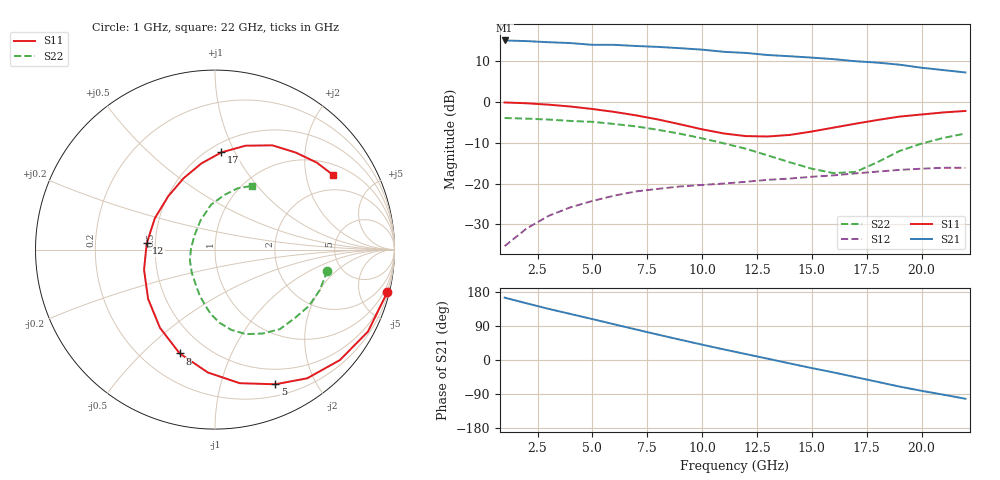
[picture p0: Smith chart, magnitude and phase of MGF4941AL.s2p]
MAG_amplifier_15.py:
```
import numpy as np
import scipy
import skrf as rf
import matplotlib.pyplot as plt
from ABCD_Shunt_OC_Stub import ABCD_Shunt_OC_Stub
from ABCD_Shunt_SC_Stub import ABCD_Shunt_SC_Stub
from ABCD_to_S import ABCD_to_S
from ABCD_TRL import ABCD_TRL
from S_Param_Interp import S_Param_Interp
from S_to_ABCD import S_to_ABCD

#--------Srinivas Nittala--------
# *Maximum Gain Amplifier using MGF4941AL HEMT @ 15GHz*

G = 10**9
Meg = 10**6
k = 10**3
c = 10**-2
C = 3e8      #Speed of Light
m = 10**-3
u = 10**-6
n = 10**-9
p = 10**-12
IFigure = 0
NF = 32
#---------------------------------
Z0 = 50
ZT = 50
f_min = 14*G
f0 = 15*G
f_max = 16*G
df = 5*Meg;
theta_p = 90
#---------------------------------
network = rf.Network("MGF4941AL.s2p")

freq = network.f
S = network.s

#---------------------------------

mag_S11 = 0.435
ang_S11 = 113.6

mag_S12 = 0.121
ang_S12 = -14.6

mag_S21 = 3.514
ang_S21 = -21.3

mag_S22 = 0.152
ang_S22 = -157.0

#"The 6GHz S-parameters were extracted from the official ATF-33143 low noise PHEMT data sheet."
S11 = (mag_S11*np.cos(np.deg2rad(ang_S11)))+1j*(mag_S11*np.sin(np.deg2rad(ang_S11)))
S12 = (mag_S12*np.cos(np.deg2rad(ang_S12)))+1j*(mag_S12*np.sin(np.deg2rad(ang_S12)))
S21 = (mag_S21*np.cos(np.deg2rad(ang_S21)))+1j*(mag_S21*np.sin(np.deg2rad(ang_S21)))
S22 = (mag_S22*np.cos(np.deg2rad(ang_S22)))+1j*(mag_S22*np.sin(np.deg2rad(ang_S22)))

#---Stability Analysis---
dl = (S11*S22) - (S12*S21)
mag_dl = np.abs(dl)
ang_dl = np.angle(dl, deg=True)
K = (1-(mag_S11)**2-(mag_S22)**2+(mag_dl)**2)/(2*(mag_S12*mag_S21))

#---Key Calculations---
B1 = 1+(mag_S11)**2-(mag_S22)**2-(mag_dl)**2
C1 = S11 - (dl)*np.conj(S22)
mag_C1 = np.abs(C1)
ang_C1 = np.angle(C1, deg = True)
B2 = 1+(mag_S22)**2-(mag_S11)**2-(mag_dl)**2
C2 = S22 - (dl)*np.conj(S11)
mag_C2 = np.abs(C2)
ang_C2 = np.angle(C2, deg = True)
#---Reflection Coeffcients---
#---Source Reflection Coeffcient---
Gamma_S1 = (B1 + (np.sqrt((B1)**2-(4*(mag_C1)**2))))/(2*C1)
mag_Gamma_S1 = np.abs(Gamma_S1)
ang_Gamma_S1 = np.angle(Gamma_S1, deg = True)

Gamma_S2 = (B1 - (np.sqrt((B1)**2-(4*(mag_C1)**2))))/(2*C1)
mag_Gamma_S2 = np.abs(Gamma_S2)
ang_Gamma_S2 = np.angle(Gamma_S2, deg = True)
if abs(Gamma_S1) < 1:
    Gamma_S = Gamma_S1
else:
    Gamma_S = Gamma_S2
#---Load Reflection Coeffcient---
Gamma_L1 = (B2 + (np.sqrt((B2)**2-(4*(mag_C2)**2))))/(2*C2)
mag_Gamma_L1 = np.abs(Gamma_L1)
ang_Gamma_L1 = np.angle(Gamma_L1, deg = True)

Gamma_L2 = (B2 - (np.sqrt((B2)**2-(4*(mag_C2)**2))))/(2*C2)
mag_Gamma_L2 = np.abs(Gamma_L2)
ang_Gamma_L2 = np.angle(Gamma_L2, deg = True)
if abs(Gamma_L1) < 1:
    Gamma_L = Gamma_L1
else:
    Gamma_L = Gamma_L2
#---Input Reflection Coeffcient---
Gamma_IN = (S11)+((S12*S21*Gamma_L)/(1-S22*Gamma_L))
mag_Gamma_IN = np.abs(Gamma_IN)
ang_Gamma_IN = np.angle(Gamma_IN, deg = True)
#---Output Reflection Coeffcient---
Gamma_OUT = (S22)+((S12*S21*Gamma_S)/(1-S11*Gamma_S))
mag_Gamma_OUT = np.abs(Gamma_OUT)
ang_Gamma_OUT = np.angle(Gamma_OUT, deg = True)
#---Gain Calculation---
MAG = ((mag_S21/mag_S12)*(K-(np.sqrt(K**2-1))))
MAG_dB = 10*np.log10(MAG)
X = ((1-(mag_Gamma_S2)**2)*((mag_S21)**2)*(1-(mag_Gamma_L2)**2))
A = 1 - S11*Gamma_S
B = 1 - S22*Gamma_L
C = S21*S12*Gamma_S*Gamma_L
Y = (A*B - C)**2
Z = np.abs(Y)
Gt = X/Z
Gt_dB = 10*np.log10(Gt)
#---Matching Networks---
#---IMN---
Gamma_IMN = np.abs(Gamma_IN-np.conj(Gamma_S))/np.abs(1-(Gamma_IN)*(Gamma_S))
VSWR_IMN = (1+Gamma_IMN)/(1-Gamma_IMN)
ML_IMN  = 1-(np.abs(Gamma_IMN))**2
ML_IMN_dB = 10*np.log10(ML_IMN)
#---OMN---
Gamma_OMN = np.abs(Gamma_OUT-np.conj(Gamma_L))/np.abs(1-(Gamma_OUT)*(Gamma_L))
VSWR_OMN = (1+Gamma_OMN)/(1-Gamma_OMN)
ML_OMN  = 1-(np.abs(Gamma_OMN))**2
ML_OMN_dB = 10*np.log10(ML_OMN)
#---IMN DESIGN---
dI2_lambda = 0.3464
theta_I2 = 360*dI2_lambda
theta_I2_2 = theta_I2*2
dI1_lambda = 0.0741
theta_I1 = 360*dI1_lambda
theta_I1_2 = theta_I1*2
#---OMN DESIGN---
dO2_lambda = 0.1138
theta_O2 = 360*dO2_lambda
theta_O2_2 = theta_O2*2
dO1_lambda = 0.1545
theta_O1 = 360* dO1_lambda
theta_O1_2 = theta_O1*2
#---NETWORK CASCADING---
#---IMN---TRANSISTOR---OMN---
freq_Amp = np.arange(f_min, f_max + df, df) #creates the frequency array.
I_f0_Amp = np.isin(freq_Amp, f0) #checks where f0 exists in the frequency array.
N_Freq = len(freq_Amp) #gives the number of frequency points
S_Amp = np.zeros((N_Freq, 2, 2), dtype=complex) #creates the empty 2×2 S-parameter matrix for every frequency
for kk in range(N_Freq):
 fk = freq_Amp[kk]
 theta_P_fk = (fk/f0)*theta_p
 theta_I1_fk = (fk/f0)*theta_I1
 theta_I2_fk = (fk/f0)*theta_I2
 theta_O1_fx = (fk/f0)*theta_O1
 theta_O2_fx = (fk/f0)*theta_O2
 T0 =  ABCD_TRL(Z0, theta_P_fk)
 TI1 = ABCD_Shunt_SC_Stub(Z0, theta_I1_fk)
 TI2 = ABCD_TRL(Z0, theta_I2_fk)
 TO2 = ABCD_TRL(Z0, theta_O2_fx)
 TO1 = ABCD_Shunt_OC_Stub(Z0, theta_O1_fx)
 Sx = S_Param_Interp(S, freq, fk)
 Ts = S_to_ABCD(Sx, Z0)
 T = T0 @ T0 @ TI1 @ TI2 @ Ts @ TO2 @ TO1 @ T0 @ T0
 S_Amp[kk, :, :] = ABCD_to_S(T, [Z0, Z0])
#-----Parameters Extraction-----------------
S11_Amp = S_Amp[:, 0, 0]
S11_Amp_Mag = np.abs(S11_Amp)
S11_Amp_dB = 20 * np.log10(S11_Amp_Mag)

S21_Amp = S_Amp[:, 1, 0]
S21_Amp_Mag = np.abs(S21_Amp)
S21_Amp_dB = 20 * np.log10(S21_Amp_Mag)

S22_Amp = S_Amp[:, 1, 1]
S22_Amp_Mag = np.abs(S22_Amp)
S22_Amp_dB = 20 * np.log10(S22_Amp_Mag)

S12_Amp = S_Amp[:, 0, 1]
S12_Amp_Mag = np.abs(S12_Amp)
S12_Amp_dB = 20 * np.log10(S12_Amp_Mag)
#------ S-parameters at f0------
S_Amp_f0 = S_Amp[I_f0_Amp, :, :]

S11_Amp_f0 = S11_Amp[I_f0_Amp]
S11_Amp_f0_dB = S11_Amp_dB[I_f0_Amp]

S21_Amp_f0 = S21_Amp[I_f0_Amp]
S21_Amp_f0_dB = S21_Amp_dB[I_f0_Amp]

S22_Amp_f0 = S22_Amp[I_f0_Amp]
S22_Amp_f0_dB = S22_Amp_dB[I_f0_Amp]

S12_Amp_f0 = S12_Amp[I_f0_Amp]
S12_Amp_f0_dB = S12_Amp_dB[I_f0_Amp]

S21_Amp_f0_Mag = abs(S21_Amp_f0)
#---------------------------------
#		|
#		|
#		|			
# Amplifier values for S11,S12,S21,S22nad Gt @ 15GHZ
#		|
#		|
#		|
	# In progress
#-------------Graphs---------------
plt.figure()

plt.plot(freq_Amp / G, S21_Amp_dB, linewidth=6)

plt.scatter(f0 / G, MAG_dB, s=100)
plt.annotate(f"{MAG_dB:.4f} dB", (f0 / G, MAG_dB))

plt.xlabel("Frequency (GHz)")
plt.ylabel("S21 (dB)")
plt.title("S21 Maximum gain Amplifier @ 15GHz")

plt.xlim(14, 16)
plt.ylim(9.5, 13.5)

plt.grid(True)
plt.show()
#------------------
plt.figure()

plt.plot(freq_Amp / G, S11_Amp_dB, 'g',  linewidth = 6)

plt.xlabel("Frequency (GHz)")
plt.ylabel("S11 (dB)")
plt.title("S11 Maximum gain Amplifier @15GHz")

plt.xlim(14, 16)
plt.ylim(-40, 0)

plt.grid(True)
plt.show()
#------------------
plt.figure()

plt.plot(freq_Amp / G, S22_Amp_dB, 'r',  linewidth = 6)

plt.xlabel("Frequency (GHz)")
plt.ylabel("S22 (dB)")
plt.title("S22 Maximum gain Amplifier @15GHz")

plt.xlim(14, 16)
plt.ylim(-40, 0)

plt.grid(True)
plt.show()
#------------------
plt.figure()

plt.plot(freq_Amp / G, S11_Amp_dB, 'r',  linewidth = 6)
plt.plot(freq_Amp / G, S21_Amp_dB, 'b',  linewidth = 6)
plt.plot(freq_Amp / G, S22_Amp_dB, 'g',  linewidth = 6)
plt.plot(freq_Amp / G, S12_Amp_dB, 'c',  linewidth = 6)

plt.xlabel("Frequency (GHz)")
plt.ylabel("Sji (dB)")
plt.title("Sji Maximum gain Amplifier @15GHz")

plt.xlim(14, 16)
plt.ylim(-40, 15)

plt.grid(True)
plt.show()

print("Device: MGF4941AL HEMT")
print("Center Frequency: 15GHz")
print("-----Part-1-----")
print(f"S11= {S11:.4f}")
print(f"S12= {S12:.4f}")
print(f"S21= {S21:.4f}")
print(f"S22= {S22:.4f}")
#---Stability Analysis---
print("-----Part-2-----")
print(f"dl= {dl:.4f}")
print(f"mag_dl= {mag_dl:.4f}")
print(f"ang_dl= {ang_dl:.4f}")
print(f"K= {K:.4f}")
if mag_dl<1 and K>1:
 print("Stability:Unconditionally Stable")
else:
 print("Stability:Conditionally Stable")
#---Key Calculations---
print("-----Part-3-----")
print(f"B1= {B1:.4f}")
print(f"C1= {C1:.4f}")
print(f"mag_C1= {mag_C1:.4f}")
print(f"ang_C1= {ang_C1:.4f}")
print(f"B2= {B2:.4f}")
print(f"C2= {C2:.4f}")
print(f"mag_C2= {mag_C2:.4f}")
print(f"ang_C2= {ang_C2:.4f}")
#---Reflection Coeffcients---
print("-----Part-4-----")
print("-----Reflection Coeffcients-----")
print("-----Source Reflection Coeffcient-----")
print(f"Gamma_S1= {Gamma_S1:.4f}")
print(f"mag_Gamma_S1= {mag_Gamma_S1:.4f}")
print(f"ang_Gamma_S1= {ang_Gamma_S1:.4f}")
print("-----------------")
print(f"Gamma_S2= {Gamma_S2:.4f}")
print(f"mag_Gamma_S2= {mag_Gamma_S2:.4f}")
print(f"ang_Gamma_S2= {ang_Gamma_S2:.4f}")
print(f"Gamma_S = {np.abs(Gamma_S):.4f} ∠ {np.angle(Gamma_S, deg = True):.4f}°")

print("-----Load Reflection Coeffcient-----")
print(f"Gamma_L1= {Gamma_L1:.4f}")
print(f"mag_Gamma_L1= {mag_Gamma_L1:.4f}")
print(f"ang_Gamma_L1= {ang_Gamma_L1:.4f}")
print("-----------------")
print(f"Gamma_L2= {Gamma_L2:.4f}")
print(f"mag_Gamma_L2= {mag_Gamma_L2:.4f}")
print(f"ang_Gamma_L2= {ang_Gamma_L2:.4f}")
print(f"Gamma_L = {np.abs(Gamma_L):.4f} ∠ {np.angle(Gamma_L, deg = True):.4f}°")
print("-----Input Reflection Coeffcient-----")
print(f"Gamma_IN= {Gamma_IN:.4f}")
print(f"mag_Gamma_IN= {mag_Gamma_IN:.4f}")
print(f"ang_Gamma_IN= {ang_Gamma_IN:.4f}")
print(f"Gamma_IN_Polar = {np.abs(Gamma_IN):.4f} ∠ {np.angle(Gamma_IN, deg = True):.4f}°")
print("-----Output Reflection Coeffcient-----")
print(f"Gamma_OUT= {Gamma_OUT:.4f}")
print(f"mag_Gamma_OUT= {mag_Gamma_OUT:.4f}")
print(f"ang_Gamma_OUT= {ang_Gamma_OUT:.4f}")
print(f"Gamma_OUT_Polar = {np.abs(Gamma_OUT):.4f} ∠ {np.angle(Gamma_OUT, deg = True):.4f}°")
if np.isclose(Gamma_IN, np.conj(Gamma_S)) and np.isclose(Gamma_OUT, np.conj(Gamma_L)):
    print("Matching Condition: Maximum gain achieved.")
else:
    print("Matching Condition: Maximum gain not achieved.")
print("-----Part-5-----")
print("-----Gain Calculation-----")
print(f"MAG= {MAG:.4f} W/W")
print(f"MAG_dB= {MAG_dB:.4f} dB")
print(f"X= {X:.4f}")
print(f"A= {A:.4f}")
print(f"B= {B:.4f}")
print(f"C= {C:.4f}")
print(f"Y= {Y:.4f}")
print(f"Z= {Z:.4f}")
print(f"Gt= {Gt:.4f}W/W")
print(f"Gt_dB= {Gt_dB:.4f}dB")
if np.isclose(MAG_dB, Gt_dB) and np.isclose(MAG, Gt):
    print("Maximum Gain condition verified!")
else:
    print("Check the Matching condition!")
print("-----Part-6-----")
print("-----Matching Networks-----")
print("-----IMN-----")
print(f"Gamma_IMN= {Gamma_IMN:.4f}")
print(f"VSWR_IMN= {VSWR_IMN:.4f}")
print(f"ML_IMN= {ML_IMN:.4f} W/W")
print(f"ML_IMN_dB= {ML_IMN_dB:.4f} dB")
print("-----OMN-----")
print(f"Gamma_OMN= {Gamma_OMN:.4f}")
print(f"VSWR_OMN= {VSWR_OMN:.4f}")
print(f"ML_OMN= {ML_OMN:.4f} W/W")
print(f"ML_OMN_dB= {ML_OMN_dB:.4f} dB")
print("-----IMN Design-----")
print(f"theta_I2= {theta_I2:.4f}°")
print(f"theta_I2_2= {theta_I2_2:.4f}°")
print(f"theta_I1= {theta_I1:.4f}°")
print(f"theta_I1_2= {theta_I1_2:.4f}°")
print("-----OMN Design-----")
print(f"theta_O2= {theta_O2:.4f}°")
print(f"theta_O2_2= {theta_O2_2:.4f}°")
print(f"theta_O1= {theta_O1:.4f}°")
print(f"theta_O1_2= {theta_O1_2:.4f}°")
#print("-----S-parameters at f0-----")
#print(f"S11_Amp_f0= {S11_Amp_f0:.4f}")
#print(f"S21_Amp_f0= {S21_Amp_f0:.4f}")
#print(f"S12_Amp_f0= {S12_Amp_f0:.4f}")
#print(f"S22_Amp_f0= {S22_Amp_f0:.4f}")
```
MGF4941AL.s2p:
! MGF4941AL  (VDS=2V, lDS=10mA, Ta=room temperature)
! S-parameters f=1-22GHz
! Board: er=2.2, 0.25mmt.
! --May/2007--
# GHz S MA R 50
!  f  S11  S21  S12  S22
! (GHz)  Magn.  Angle  Magn.  Angle  Magn.  Angle  Magn.  Angle
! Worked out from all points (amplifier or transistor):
!   22 points, 1 GHz to 22 GHz, reference 50 ohm
!   highest |S21| = 15.1 dB at 1 GHz (marker M1)
!   |S21| within 3 dB of that: start of sweep to 11.75 GHz
!   unconditionally stable (mu >= 1): 10.35 GHz to 16.8 GHz
!   at 4 GHz: K = 0.41, MSG = 20.2 dB, |S12| = -25.8 dB
!   at 12 GHz: K = 1.09, MAG = 14.0 dB, |S12| = -19.6 dB
!   at 22 GHz: K = 0.73, MSG = 11.7 dB, |S12| = -16.1 dB
!   lowest NFmin = 0.20 dB at 2 GHz
!   S11 on the Smith chart (normalised r, x): 1 GHz: 0.38, -8.19; 5 GHz: 0.32, -1.49; 8 GHz: 0.35, -0.65; 12 GHz: 0.45, +0.04; 17 GHz: 0.58, +0.89; 22 GHz: 1.36, +2.87
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1  0.989 -13.9  5.71 164.6  0.017 78.9  0.637 -10.6
3  0.929 -41.5  5.432 135.0  0.04 61.7  0.61 -31.1
5  0.822 -65.9  5.046 108.0  0.061 45.9  0.572 -50.8
6  0.757 -79.5  5.045 94.1  0.071 37.6  0.538 -60.3
8  0.611 -108.8  4.759 66.8  0.086 22.7  0.456 -78.6
10  0.463 -143.6  4.403 40.5  0.096 10.2  0.359 -93.8
12  0.382 174.7  4.01 15.6  0.105 0.1  0.267 -108.9
14  0.395 131.4  3.653 -9.1  0.115 -9.7  0.182 -135.4
17  0.543 86.2  3.172 -45.3  0.133 -25.5  0.139 145.4
19  0.663 61.2  2.877 -70.2  0.147 -37.9  0.251 95.1
22  0.778 32.3  2.311 -102.3  0.156 -58.0  0.411 59.8
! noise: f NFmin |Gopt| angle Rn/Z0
2  0.2  0.671  13.9  0.37
4  0.22  0.598  37.2  0.262
6  0.25  0.537  60.8  0.197
8  0.29  0.474  86.2  0.155
10  0.32  0.399  119.2  0.102
12  0.35  0.329  147.6  0.062
14  0.4  0.299  173.6  0.069
16  0.49  0.349  -143.9  0.083
18  0.59  0.392  -106.5  0.109
22  0.96  0.467  -42.7  0.18
